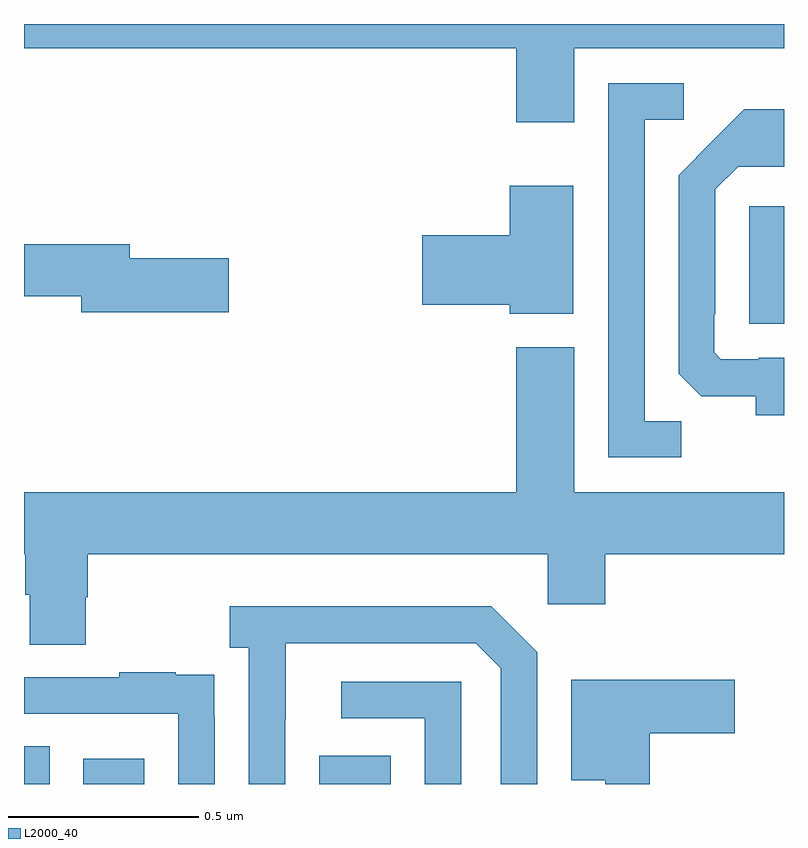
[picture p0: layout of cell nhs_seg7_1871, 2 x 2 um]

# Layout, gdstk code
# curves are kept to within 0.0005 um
import gdstk
lib = gdstk.Library(unit=1e-6, precision=1e-09)
def R(c, l, rs):  # rectangles x0, y0, x1, y1
    for r in rs: c.add(gdstk.rectangle(r[:2], r[2:], *l))
def P(c, l, *ps):  # polygons
    for p in ps: c.add(gdstk.Polygon(p, *l))
L2000_40 = (2000, 40)

nhs_seg7_1871 = lib.new_cell('nhs_seg7_1871')
R(nhs_seg7_1871, L2000_40, [(137,1012,137.068,1012.1), (137.156,1012,137.317,1012.066), (137.777,1012,137.965,1012.075), (138.909,1013.211,139,1013.521)])
P(nhs_seg7_1871, L2000_40, [(138.448,1013.936),(139,1013.936),(139,1014),(137,1014),(137,1013.936),(138.296,1013.936),(138.296,1013.742),(138.448,1013.742)],
  [(138.729,1012.955),(138.633,1012.955),(138.633,1013.748),(138.736,1013.748),(138.736,1013.844),(138.537,1013.844),(138.537,1012.86),(138.729,1012.86)],
  [(139,1013.122),(138.934,1013.122),(138.934,1013.118),(138.834,1013.118),(138.816,1013.136),(138.816,1013.236),(138.819,1013.236),(138.819,1013.565),(138.879,1013.625),(139,1013.625),(139,1013.776),(138.895,1013.776),(138.723,1013.602),(138.723,1013.08),(138.782,1013.021),(138.926,1013.021),(138.926,1012.97),(139,1012.97)],
  [(138.445,1013.575),(138.278,1013.575),(138.278,1013.444),(138.048,1013.444),(138.048,1013.261),(138.278,1013.261),(138.278,1013.237),(138.445,1013.237)],
  [(137.539,1013.384),(137.278,1013.384),(137.278,1013.42),(137,1013.42),(137,1013.284),(137.15,1013.284),(137.15,1013.242),(137.539,1013.242)],
  [(137.163,1012.491),(137.168,1012.491),(137.168,1012.604),(138.378,1012.604),(138.378,1012.473),(138.53,1012.473),(138.53,1012.604),(139,1012.604),(139,1012.768),(138.448,1012.768),(138.448,1013.149),(138.296,1013.149),(138.296,1012.768),(137,1012.768),(137,1012.604),(137.003,1012.604),(137.003,1012.498),(137.015,1012.498),(137.015,1012.366),(137.163,1012.366)],
  [(137.688,1012.171),(137.689,1012.171),(137.689,1012.371),(138.189,1012.371),(138.255,1012.305),(138.255,1012),(138.351,1012),(138.351,1012.347),(138.23,1012.468),(137.541,1012.468),(137.541,1012.358),(137.592,1012.358),(137.592,1012),(137.688,1012)],
  [(137.502,1012.178),(137.501,1012.178),(137.501,1012.287),(137.399,1012.287),(137.399,1012.294),(137.251,1012.294),(137.251,1012.281),(137,1012.281),(137,1012.185),(137.406,1012.185),(137.406,1012),(137.502,1012)],
  [(138.647,1012.133),(138.871,1012.133),(138.871,1012.275),(138.44,1012.275),(138.44,1012.01),(138.53,1012.01),(138.53,1012),(138.647,1012)],
  [(138.15,1012.269),(137.835,1012.269),(137.835,1012.173),(138.054,1012.173),(138.054,1012),(138.15,1012)])

lib.write_gds('nhs_seg7_1871.gds')
